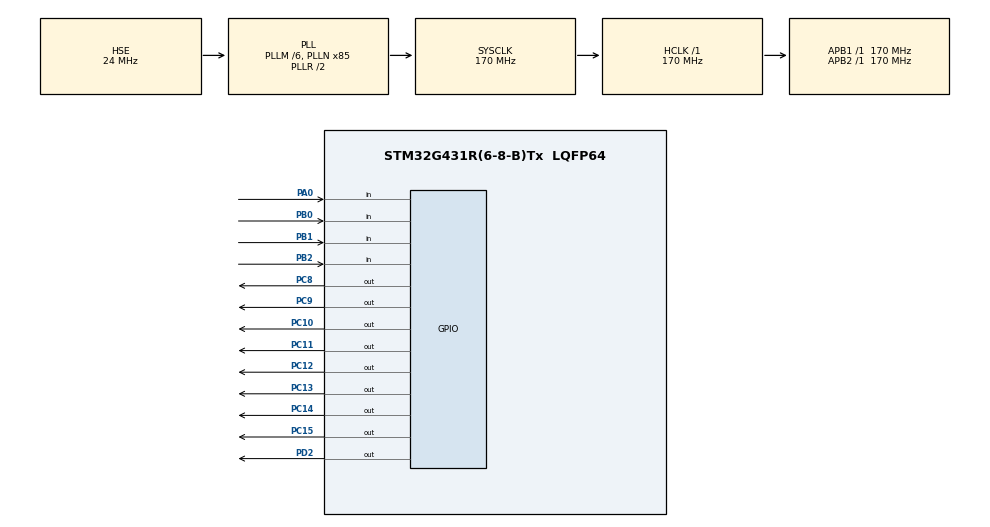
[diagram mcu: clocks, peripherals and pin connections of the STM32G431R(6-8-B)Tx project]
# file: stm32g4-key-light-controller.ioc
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Mcu.Family=STM32G4
Mcu.Name=STM32G431R(6-8-B)Tx
Mcu.Package=LQFP64
NVIC.PriorityGroup=NVIC_PRIORITYGROUP_4
PA0.GPIO_PuPd=GPIO_NOPULL
PA0.Signal=GPIO_Input
PA13.Mode=Serial_Wire
PA13.Signal=SYS_JTMS-SWDIO
PA14.Mode=Serial_Wire
PA14.Signal=SYS_JTCK-SWCLK
PB0.Signal=GPIO_Input
PB1.Signal=GPIO_Input
PB2.Signal=GPIO_Input
PC10.PinState=GPIO_PIN_SET
PC10.Signal=GPIO_Output
PC11.PinState=GPIO_PIN_SET
PC11.Signal=GPIO_Output
PC12.PinState=GPIO_PIN_SET
PC12.Signal=GPIO_Output
PC13.PinState=GPIO_PIN_SET
PC13.Signal=GPIO_Output
PC14-OSC32_IN.PinState=GPIO_PIN_SET
PC14-OSC32_IN.Signal=GPIO_Output
PC15-OSC32_OUT.PinState=GPIO_PIN_SET
PC15-OSC32_OUT.Signal=GPIO_Output
PC8.PinState=GPIO_PIN_SET
PC8.Signal=GPIO_Output
PC9.PinState=GPIO_PIN_SET
PC9.Signal=GPIO_Output
PD2.PinState=GPIO_PIN_SET
PD2.Signal=GPIO_Output
PF0-OSC_IN.Mode=HSE-External-Oscillator
PF0-OSC_IN.Signal=RCC_OSC_IN
PF1-OSC_OUT.Mode=HSE-External-Oscillator
PF1-OSC_OUT.Signal=RCC_OSC_OUT
ProjectManager.HeapSize=0x200
ProjectManager.StackSize=0x400
ProjectManager.TargetToolchain=MDK-ARM V5.32
RCC.ADC12Freq_Value=170000000
RCC.AHBFreq_Value=170000000
RCC.APB1Freq_Value=170000000
RCC.APB1TimFreq_Value=170000000
RCC.APB2Freq_Value=170000000
RCC.APB2TimFreq_Value=170000000
RCC.CortexFreq_Value=170000000
RCC.EXTERNAL_CLOCK_VALUE=12288000
RCC.HCLKFreq_Value=170000000
RCC.HSE_VALUE=24000000
RCC.HSI48_VALUE=48000000
RCC.HSI_VALUE=16000000
RCC.LSE_VALUE=32768
RCC.PLLM=RCC_PLLM_DIV6
RCC.PLLN=85
RCC.PLLSourceVirtual=RCC_PLLSOURCE_HSE
RCC.SYSCLKFreq_VALUE=170000000
RCC.SYSCLKSource=RCC_SYSCLKSOURCE_PLLCLK
RCC.USBFreq_Value=170000000
RCC.VCOOutputFreq_Value=340000000
VP_SYS_VS_DBSignals.Mode=DisableDeadBatterySignals
board=custom

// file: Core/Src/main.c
/* USER CODE BEGIN Header */
/**
  ******************************************************************************
  * @file           : main.c
  * @brief          : Main program body
  ******************************************************************************
  * @attention
  *
  * Copyright (c) 2026 STMicroelectronics.
  * All rights reserved.
  *
  * This software is licensed under terms that can be found in the LICENSE file
  * in the root directory of this software component.
  * If no LICENSE file comes with this software, it is provided AS-IS.
  *
  ******************************************************************************
  */
/* USER CODE END Header */
#include "main.h"
#include "gpio.h"

void SystemClock_Config(void);

int main(void)
{

  /* MCU Configuration--------------------------------------------------------*/

  /* Reset of all peripherals, Initializes the Flash interface and the Systick. */
  HAL_Init();

  /* Configure the system clock */
  SystemClock_Config();

  /* Initialize all configured peripherals */
  MX_GPIO_Init();

  /* Infinite loop */
  /* USER CODE BEGIN WHILE */
  while (1)
  {
    // 1. 检测 B1 (PB0) → 控制 LD1 (PC8)
    if (HAL_GPIO_ReadPin(GPIOB, GPIO_PIN_0) == GPIO_PIN_RESET)
    {
        HAL_Delay(10); // 软件消抖10ms
        if (HAL_GPIO_ReadPin(GPIOB, GPIO_PIN_0) == GPIO_PIN_RESET)
        {
            HAL_GPIO_TogglePin(GPIOC, GPIO_PIN_8); // 翻转LD1状态
            // 等待按键松开，防止一直按着导致灯狂闪
            while(HAL_GPIO_ReadPin(GPIOB, GPIO_PIN_0) == GPIO_PIN_RESET);
        }
    }

    // 2. 检测 B2 (PB1) → 控制 LD2 (PC9)
    if (HAL_GPIO_ReadPin(GPIOB, GPIO_PIN_1) == GPIO_PIN_RESET)
    {
        HAL_Delay(10);
        if (HAL_GPIO_ReadPin(GPIOB, GPIO_PIN_1) == GPIO_PIN_RESET)
        {
            HAL_GPIO_TogglePin(GPIOC, GPIO_PIN_9);
            while(HAL_GPIO_ReadPin(GPIOB, GPIO_PIN_1) == GPIO_PIN_RESET);
        }
    }

    // 3. 检测 B3 (PB2) → 控制 LD3 (PC10)
    if (HAL_GPIO_ReadPin(GPIOB, GPIO_PIN_2) == GPIO_PIN_RESET)
    {
        HAL_Delay(10);
        if (HAL_GPIO_ReadPin(GPIOB, GPIO_PIN_2) == GPIO_PIN_RESET)
        {
            HAL_GPIO_TogglePin(GPIOC, GPIO_PIN_10);
            while(HAL_GPIO_ReadPin(GPIOB, GPIO_PIN_2) == GPIO_PIN_RESET);
        }
    }

    // 4. 检测 B4 (PA0) → 控制 LD4 (PC11)
    if (HAL_GPIO_ReadPin(GPIOA, GPIO_PIN_0) == GPIO_PIN_RESET)
    {
        HAL_Delay(10);
        if (HAL_GPIO_ReadPin(GPIOA, GPIO_PIN_0) == GPIO_PIN_RESET)
        {
            HAL_GPIO_TogglePin(GPIOC, GPIO_PIN_11);
            while(HAL_GPIO_ReadPin(GPIOA, GPIO_PIN_0) == GPIO_PIN_RESET);
        }
    }
    /* USER CODE END WHILE */

  }
}

void SystemClock_Config(void)
{
  RCC_OscInitTypeDef RCC_OscInitStruct = {0};
  RCC_ClkInitTypeDef RCC_ClkInitStruct = {0};

  /** Configure the main internal regulator output voltage
  */
  HAL_PWREx_ControlVoltageScaling(PWR_REGULATOR_VOLTAGE_SCALE1_BOOST);

  /** Initializes the RCC Oscillators according to the specified parameters
  * in the RCC_OscInitTypeDef structure.
  */
  RCC_OscInitStruct.OscillatorType = RCC_OSCILLATORTYPE_HSE;
  RCC_OscInitStruct.HSEState = RCC_HSE_ON;
  RCC_OscInitStruct.PLL.PLLState = RCC_PLL_ON;
  RCC_OscInitStruct.PLL.PLLSource = RCC_PLLSOURCE_HSE;
  RCC_OscInitStruct.PLL.PLLM = RCC_PLLM_DIV6;
  RCC_OscInitStruct.PLL.PLLN = 85;
  RCC_OscInitStruct.PLL.PLLP = RCC_PLLP_DIV2;
  RCC_OscInitStruct.PLL.PLLQ = RCC_PLLQ_DIV2;
  RCC_OscInitStruct.PLL.PLLR = RCC_PLLR_DIV2;
  if (HAL_RCC_OscConfig(&RCC_OscInitStruct) != HAL_OK)
  {
    Error_Handler();
  }

  /** Initializes the CPU, AHB and APB buses clocks
  */
  RCC_ClkInitStruct.ClockType = RCC_CLOCKTYPE_HCLK|RCC_CLOCKTYPE_SYSCLK
                              |RCC_CLOCKTYPE_PCLK1|RCC_CLOCKTYPE_PCLK2;
  RCC_ClkInitStruct.SYSCLKSource = RCC_SYSCLKSOURCE_PLLCLK;
  RCC_ClkInitStruct.AHBCLKDivider = RCC_SYSCLK_DIV1;
  RCC_ClkInitStruct.APB1CLKDivider = RCC_HCLK_DIV1;
  RCC_ClkInitStruct.APB2CLKDivider = RCC_HCLK_DIV1;

  if (HAL_RCC_ClockConfig(&RCC_ClkInitStruct, FLASH_LATENCY_4) != HAL_OK)
  {
    Error_Handler();
  }
}

void Error_Handler(void)
{
  __disable_irq();
  while (1)
  {
  }
}
